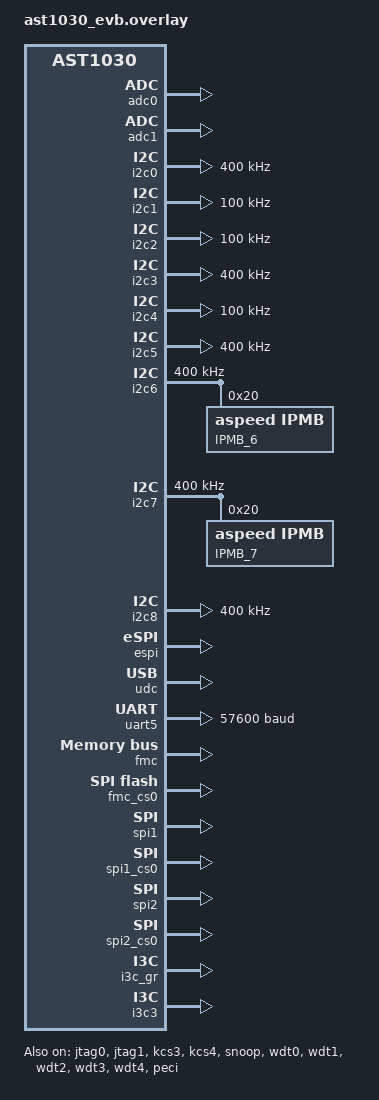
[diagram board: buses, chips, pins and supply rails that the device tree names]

&adc0 {
	status = "okay";
	pinctrl-0 = <
		&pinctrl_adc0_default
		&pinctrl_adc2_default
		&pinctrl_adc3_default
		&pinctrl_adc4_default
		&pinctrl_adc6_default>;
};

&adc1 {
	status = "okay";
	pinctrl-0 = <
		&pinctrl_adc9_default
		&pinctrl_adc11_default
		&pinctrl_adc13_default
		&pinctrl_adc14_default
		&pinctrl_adc15_default>;
};

&jtag0 {
	status = "okay";
};

&jtag1 {
	status = "okay";
};

&i2c0 {
	pinctrl-0 = <&pinctrl_i2c0_default>;
	status = "okay";
	clock-frequency = <I2C_BITRATE_FAST>;
};

&i2c1 {
	pinctrl-0 = <&pinctrl_i2c1_default>;
	status = "okay";
	clock-frequency = <I2C_BITRATE_STANDARD>;
};

&i2c2 {
	pinctrl-0 = <&pinctrl_i2c2_default>;
	clock-frequency = <I2C_BITRATE_STANDARD>;
	status = "okay";
};

&i2c3 {
	pinctrl-0 = <&pinctrl_i2c3_default>;
	status = "okay";
	clock-frequency = <I2C_BITRATE_FAST>;
};

&i2c4 {
	pinctrl-0 = <&pinctrl_i2c4_default>;
	status = "okay";
	clock-frequency = <I2C_BITRATE_STANDARD>;
};

&i2c5 {
	pinctrl-0 = <&pinctrl_i2c5_default>;
	status = "okay";
	clock-frequency = <I2C_BITRATE_FAST>;
};

&i2c6 {
	pinctrl-0 = <&pinctrl_i2c6_default>;
	status = "okay";
	clock-frequency = <I2C_BITRATE_FAST>;

	ipmb6: ipmb@20 {
		compatible = "aspeed,ipmb";
		reg = <0x20>;
		label = "IPMB_6";
		size = <10>;
#ifdef CONFIG_I2C_IPMB_SLAVE
		status = "okay";
#endif
	};
};

&i2c7 {
	pinctrl-0 = <&pinctrl_i2c7_default>;
	status = "okay";
	clock-frequency = <I2C_BITRATE_FAST>;
	ipmb7: ipmb@20 {
		compatible = "aspeed,ipmb";
		reg = <0x20>;
		label = "IPMB_7";
		size = <10>;
#ifdef CONFIG_I2C_IPMB_SLAVE
		status = "okay";
#endif
	};
};

&i2c8 {
	pinctrl-0 = <&pinctrl_i2c8_default>;
	status = "okay";
	clock-frequency = <I2C_BITRATE_FAST>;
};

&espi {
	status = "okay";

	perif,dma-mode;
	perif,memcyc-src-addr = <0x98000000>;
	perif,memcyc-size = <0x10000>;
	flash,safs-mode = <0x2>;
};

&udc {
	status = "okay";
};

&kcs3 {
	status = "okay";
	addr = <0xca2>;
};

&kcs4 {
	status = "okay";
	addr = <0xca4>;
};

&uart5 {
	current-speed = <57600>;
};

&snoop {
	status = "okay";
	port = <0x80>, <0x81>;
};

&fmc {
	status = "okay";
};

&fmc_cs0 {
	status = "okay";
	spi-max-buswidth = <4>;
	spi-max-frequency = <50000000>;

	partitions {
		compatible = "fixed-partitions";
		#address-cells = <1>;
		#size-cells = <1>;
		boot_partition: partition@0 {
			label = "image-0";
			reg = <0x0 0x100000>;
		};
		dfu_partition: partition@1 {
			label = "image-1";
			reg = <0x0 0x100000>;
		};
	};
};

&fmc_cs1 {
	status = "disabled";
	spi-max-buswidth = <4>;
	spi-max-frequency = <50000000>;
};

&spi1 {
	status = "okay";
};

&spi1_cs0 {
	status = "okay";
	spi-max-buswidth = <4>;
	spi-max-frequency = <50000000>;
	re-init-support;
};

&spi1_cs1 {
	status = "disabled";
	spi-max-buswidth = <4>;
	spi-max-frequency = <50000000>;
	re-init-support;
};

&spi2 {
	status = "okay";
};

&spi2_cs0 {
	status = "okay";
	spi-max-buswidth = <4>;
	spi-max-frequency = <50000000>;
	re-init-support;
};

&spi2_cs1 {
	status = "disabled";
	spi-max-buswidth = <4>;
	spi-max-frequency = <50000000>;
	re-init-support;
};

&wdt0 {
	status = "okay";
};

&wdt1 {
	status = "okay";
};

&wdt2 {
	status = "okay";
};

&wdt3 {
	status = "okay";
};

&wdt4 {
	status = "okay";
};

&peci {
	status = "okay";
};

&sram0 {
	reg = <0 DT_SIZE_K(512)>, <0x80000 DT_SIZE_K(256)>;
};

&i3c_gr {
	status = "okay";
	pull-up-resistor-ohm = <2000>, <2000>, <2000>, <2000>, <2000>, <2000>;
};

&i3c3 {
	status = "okay";
	assigned-address = <0x11>;
	i3c-scl-hz = <5000000>;
	pinctrl-0 = <&pinctrl_i3c3_default>;
	i3c-pp-scl-hi-period-ns = <100>;
	i3c-pp-scl-lo-period-ns = <100>;
};

